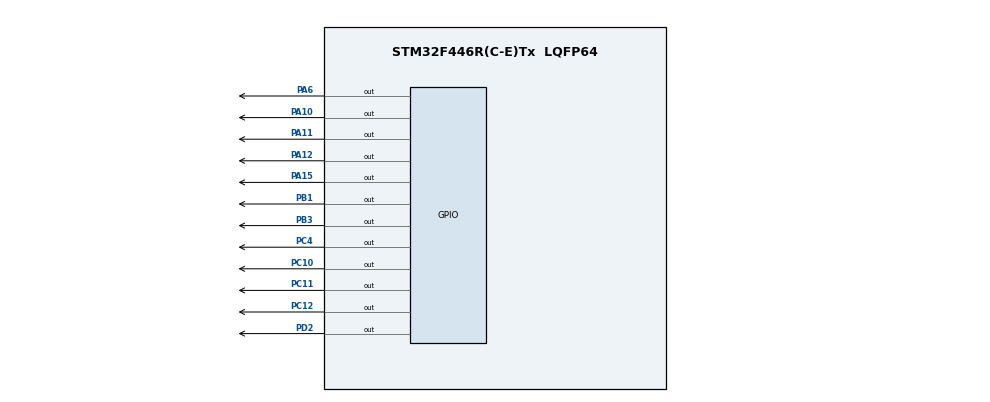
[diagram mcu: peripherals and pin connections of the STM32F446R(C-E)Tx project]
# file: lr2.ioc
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Mcu.Family=STM32F4
RCC.CortexFreq_Value=16000000
PC12.Signal=GPIO_Output
PC11.Signal=GPIO_Output
PC10.Signal=GPIO_Output
PC4.Signal=GPIO_Output
ProjectManager.StackSize=0x400
PA12.Signal=GPIO_Output
ProjectManager.TargetToolchain=STM32CubeIDE
RCC.USBFreq_Value=96000000
board=custom
RCC.VCOOutputFreq_Value=192000000
Mcu.Name=STM32F446R(C-E)Tx
PB3.Signal=GPIO_Output
Mcu.Package=LQFP64
PB1.Signal=GPIO_Output
PA6.Signal=GPIO_Output
PA11.Signal=GPIO_Output
PA10.Signal=GPIO_Output
PA15.Signal=GPIO_Output
ProjectManager.HeapSize=0x200
NVIC.PriorityGroup=NVIC_PRIORITYGROUP_4
PD2.Signal=GPIO_Output

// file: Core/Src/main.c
/* USER CODE BEGIN Header */
/**
  ******************************************************************************
  * @file           : main.c
  * @brief          : Main program body
  ******************************************************************************
  * @attention
  *
  * <h2><center>&copy; Copyright (c) 2022 STMicroelectronics.
  * All rights reserved.</center></h2>
  *
  * This software component is licensed by ST under BSD 3-Clause license,
  * the "License"; You may not use this file except in compliance with the
  * License. You may obtain a copy of the License at:
  *                        opensource.org/licenses/BSD-3-Clause
  *
  ******************************************************************************
  */
/* USER CODE END Header */
#include "main.h"
#include <stdlib.h>

void SystemClock_Config(void);
static void MX_GPIO_Init(void);

void set_number(int64_t);
void reset_number();
void set_screen(int64_t);
void set_minus(int64_t);
void set_long_number(int64_t);
void reset_all();

int main(void)
{

  /* MCU Configuration--------------------------------------------------------*/

  /* Reset of all peripherals, Initializes the Flash interface and the Systick. */
  HAL_Init();

  /* Configure the system clock */
  SystemClock_Config();

  /* Initialize all configured peripherals */
  MX_GPIO_Init();

  /* Infinite loop */
  /* USER CODE BEGIN WHILE */

  int64_t count = -304;
  int64_t time = 0;

  reset_all();
  set_long_number(count);

  while (1)
  {
	  if (time == 0) {
		  if (HAL_GPIO_ReadPin(GPIOC, GPIO_PIN_5) == GPIO_PIN_RESET) {
			  count++;
			  time++;
		  }
          if (HAL_GPIO_ReadPin(GPIOC, GPIO_PIN_6) == GPIO_PIN_RESET) {
        	  count--;
        	  time++;
          }
	  }
      if (count < 0) {
          if (count < -999) {
              count = -999;
              HAL_Delay(500);
              set_long_number(count);
          } else {
              set_long_number(count);
          }
      } else {
          if (count > 9999) {
              count = 9999;
              HAL_Delay(500);
              set_long_number(count);
          } else {
              set_long_number(count);
          }
      }

      if (time > 0) {
    	  time++;
    	  if (time > 75) time = 0;
      }

    /* USER CODE END WHILE */

  }
}

void set_number(int64_t num) {
    switch (num) {
        case 0:
            HAL_GPIO_WritePin(GPIOD, GPIO_PIN_2, GPIO_PIN_RESET);
            HAL_GPIO_WritePin(GPIOA, GPIO_PIN_6, GPIO_PIN_RESET);
            HAL_GPIO_WritePin(GPIOA, GPIO_PIN_12, GPIO_PIN_RESET);
            HAL_GPIO_WritePin(GPIOA, GPIO_PIN_11, GPIO_PIN_RESET);
            HAL_GPIO_WritePin(GPIOC, GPIO_PIN_10, GPIO_PIN_RESET);
            HAL_GPIO_WritePin(GPIOC, GPIO_PIN_11, GPIO_PIN_RESET);
            break;
        case 1:
            HAL_GPIO_WritePin(GPIOA, GPIO_PIN_12, GPIO_PIN_RESET);
	        HAL_GPIO_WritePin(GPIOA, GPIO_PIN_11, GPIO_PIN_RESET);
            break;
        case 2:
            HAL_GPIO_WritePin(GPIOC, GPIO_PIN_12, GPIO_PIN_RESET);
	        HAL_GPIO_WritePin(GPIOA, GPIO_PIN_6, GPIO_PIN_RESET);
	        HAL_GPIO_WritePin(GPIOA, GPIO_PIN_12, GPIO_PIN_RESET);
	        HAL_GPIO_WritePin(GPIOC, GPIO_PIN_10, GPIO_PIN_RESET);
	        HAL_GPIO_WritePin(GPIOC, GPIO_PIN_11, GPIO_PIN_RESET);
            break;
        case 3:
            HAL_GPIO_WritePin(GPIOC, GPIO_PIN_12, GPIO_PIN_RESET);
            HAL_GPIO_WritePin(GPIOA, GPIO_PIN_6, GPIO_PIN_RESET);
            HAL_GPIO_WritePin(GPIOA, GPIO_PIN_12, GPIO_PIN_RESET);
            HAL_GPIO_WritePin(GPIOC, GPIO_PIN_10, GPIO_PIN_RESET);
            HAL_GPIO_WritePin(GPIOA, GPIO_PIN_11, GPIO_PIN_RESET);
            break;
        case 4:
            HAL_GPIO_WritePin(GPIOD, GPIO_PIN_2, GPIO_PIN_RESET);
	        HAL_GPIO_WritePin(GPIOC, GPIO_PIN_12, GPIO_PIN_RESET);
	        HAL_GPIO_WritePin(GPIOA, GPIO_PIN_12, GPIO_PIN_RESET);
	        HAL_GPIO_WritePin(GPIOA, GPIO_PIN_11, GPIO_PIN_RESET);
            break;
        case 5:
            HAL_GPIO_WritePin(GPIOC, GPIO_PIN_12, GPIO_PIN_RESET);
            HAL_GPIO_WritePin(GPIOD, GPIO_PIN_2, GPIO_PIN_RESET);
            HAL_GPIO_WritePin(GPIOA, GPIO_PIN_6, GPIO_PIN_RESET);
            HAL_GPIO_WritePin(GPIOA, GPIO_PIN_11, GPIO_PIN_RESET);
            HAL_GPIO_WritePin(GPIOC, GPIO_PIN_10, GPIO_PIN_RESET);
            break;
        case 6:
            HAL_GPIO_WritePin(GPIOC, GPIO_PIN_12, GPIO_PIN_RESET);
            HAL_GPIO_WritePin(GPIOD, GPIO_PIN_2, GPIO_PIN_RESET);
            HAL_GPIO_WritePin(GPIOA, GPIO_PIN_6, GPIO_PIN_RESET);
            HAL_GPIO_WritePin(GPIOA, GPIO_PIN_11, GPIO_PIN_RESET);
            HAL_GPIO_WritePin(GPIOC, GPIO_PIN_10, GPIO_PIN_RESET);
            HAL_GPIO_WritePin(GPIOC, GPIO_PIN_11, GPIO_PIN_RESET);
            break;
        case 7:
            HAL_GPIO_WritePin(GPIOA, GPIO_PIN_6, GPIO_PIN_RESET);
            HAL_GPIO_WritePin(GPIOA, GPIO_PIN_12, GPIO_PIN_RESET);
            HAL_GPIO_WritePin(GPIOA, GPIO_PIN_11, GPIO_PIN_RESET);
            break;
        case 8:
            HAL_GPIO_WritePin(GPIOC, GPIO_PIN_12, GPIO_PIN_RESET);
            HAL_GPIO_WritePin(GPIOD, GPIO_PIN_2, GPIO_PIN_RESET);
            HAL_GPIO_WritePin(GPIOA, GPIO_PIN_6, GPIO_PIN_RESET);
            HAL_GPIO_WritePin(GPIOA, GPIO_PIN_12, GPIO_PIN_RESET);
            HAL_GPIO_WritePin(GPIOA, GPIO_PIN_11, GPIO_PIN_RESET);
            HAL_GPIO_WritePin(GPIOC, GPIO_PIN_10, GPIO_PIN_RESET);
            HAL_GPIO_WritePin(GPIOC, GPIO_PIN_11, GPIO_PIN_RESET);
            break;
        case 9:
            HAL_GPIO_WritePin(GPIOC, GPIO_PIN_12, GPIO_PIN_RESET);
            HAL_GPIO_WritePin(GPIOD, GPIO_PIN_2, GPIO_PIN_RESET);
            HAL_GPIO_WritePin(GPIOA, GPIO_PIN_6, GPIO_PIN_RESET);
            HAL_GPIO_WritePin(GPIOA, GPIO_PIN_12, GPIO_PIN_RESET);
            HAL_GPIO_WritePin(GPIOA, GPIO_PIN_11, GPIO_PIN_RESET);
            HAL_GPIO_WritePin(GPIOC, GPIO_PIN_10, GPIO_PIN_RESET);
            break;
    }
}

void reset_number() {
    HAL_GPIO_WritePin(GPIOC, GPIO_PIN_12, GPIO_PIN_SET);
    HAL_GPIO_WritePin(GPIOD, GPIO_PIN_2, GPIO_PIN_SET);
    HAL_GPIO_WritePin(GPIOA, GPIO_PIN_6, GPIO_PIN_SET);
    HAL_GPIO_WritePin(GPIOA, GPIO_PIN_12, GPIO_PIN_SET);
    HAL_GPIO_WritePin(GPIOA, GPIO_PIN_11, GPIO_PIN_SET);
    HAL_GPIO_WritePin(GPIOC, GPIO_PIN_10, GPIO_PIN_SET);
    HAL_GPIO_WritePin(GPIOC, GPIO_PIN_11, GPIO_PIN_SET);
    HAL_GPIO_WritePin(GPIOA, GPIO_PIN_15, GPIO_PIN_SET);
}

void set_screen(int64_t num) {
    switch (num) {
        case 1:
            HAL_GPIO_WritePin(GPIOB, GPIO_PIN_1, GPIO_PIN_SET);
            HAL_GPIO_WritePin(GPIOB, GPIO_PIN_3, GPIO_PIN_SET);
            HAL_GPIO_WritePin(GPIOA, GPIO_PIN_10, GPIO_PIN_SET);
            HAL_GPIO_WritePin(GPIOC, GPIO_PIN_4, GPIO_PIN_RESET);
            break;
        case 2:
            HAL_GPIO_WritePin(GPIOB, GPIO_PIN_1, GPIO_PIN_SET);
            HAL_GPIO_WritePin(GPIOB, GPIO_PIN_3, GPIO_PIN_SET);
            HAL_GPIO_WritePin(GPIOA, GPIO_PIN_10, GPIO_PIN_RESET);
            HAL_GPIO_WritePin(GPIOC, GPIO_PIN_4, GPIO_PIN_SET);
            break;
        case 3:
            HAL_GPIO_WritePin(GPIOB, GPIO_PIN_1, GPIO_PIN_SET);
            HAL_GPIO_WritePin(GPIOB, GPIO_PIN_3, GPIO_PIN_RESET);
            HAL_GPIO_WritePin(GPIOA, GPIO_PIN_10, GPIO_PIN_SET);
            HAL_GPIO_WritePin(GPIOC, GPIO_PIN_4, GPIO_PIN_SET);
            break;
        case 4:
            HAL_GPIO_WritePin(GPIOB, GPIO_PIN_1, GPIO_PIN_RESET);
            HAL_GPIO_WritePin(GPIOB, GPIO_PIN_3, GPIO_PIN_SET);
            HAL_GPIO_WritePin(GPIOA, GPIO_PIN_10, GPIO_PIN_SET);
            HAL_GPIO_WritePin(GPIOC, GPIO_PIN_4, GPIO_PIN_SET);
            break;
    }
}

void set_long_number(int64_t num) {

    int64_t digit_count = 0;
    int64_t buffer = (int64_t) abs(num);

    for (int i = 1; i <= 4; ++i) {
        if (buffer % 10) digit_count = i;
        buffer /= 10;
    }

    if (num == 0) {
    	digit_count = 1;
    }

    buffer = (int64_t) abs(num);

    for (int i = 1; i <= digit_count; ++i) {
        set_screen(i);
        reset_number();
        set_number(buffer % 10);
        buffer /= 10;
        HAL_Delay(1);
        if (num < 0) {
                set_minus(digit_count);
        }
        HAL_Delay(1);
    }

}

void reset_all() {
    for (int i = 1; i <= 4; ++i) {
        set_screen(i);
        reset_number();
    }
}

void set_minus(int64_t digit_count) {
    set_screen(digit_count + 1);
    reset_number();
    HAL_GPIO_WritePin(GPIOC, GPIO_PIN_12, GPIO_PIN_RESET);
}

void SystemClock_Config(void)
{
  RCC_OscInitTypeDef RCC_OscInitStruct = {0};
  RCC_ClkInitTypeDef RCC_ClkInitStruct = {0};

  /** Configure the main internal regulator output voltage
  */
  __HAL_RCC_PWR_CLK_ENABLE();
  __HAL_PWR_VOLTAGESCALING_CONFIG(PWR_REGULATOR_VOLTAGE_SCALE3);
  /** Initializes the RCC Oscillators according to the specified parameters
  * in the RCC_OscInitTypeDef structure.
  */
  RCC_OscInitStruct.OscillatorType = RCC_OSCILLATORTYPE_HSI;
  RCC_OscInitStruct.HSIState = RCC_HSI_ON;
  RCC_OscInitStruct.HSICalibrationValue = RCC_HSICALIBRATION_DEFAULT;
  RCC_OscInitStruct.PLL.PLLState = RCC_PLL_NONE;
  if (HAL_RCC_OscConfig(&RCC_OscInitStruct) != HAL_OK)
  {
    Error_Handler();
  }
  /** Initializes the CPU, AHB and APB buses clocks
  */
  RCC_ClkInitStruct.ClockType = RCC_CLOCKTYPE_HCLK|RCC_CLOCKTYPE_SYSCLK
                              |RCC_CLOCKTYPE_PCLK1|RCC_CLOCKTYPE_PCLK2;
  RCC_ClkInitStruct.SYSCLKSource = RCC_SYSCLKSOURCE_HSI;
  RCC_ClkInitStruct.AHBCLKDivider = RCC_SYSCLK_DIV1;
  RCC_ClkInitStruct.APB1CLKDivider = RCC_HCLK_DIV1;
  RCC_ClkInitStruct.APB2CLKDivider = RCC_HCLK_DIV1;

  if (HAL_RCC_ClockConfig(&RCC_ClkInitStruct, FLASH_LATENCY_0) != HAL_OK)
  {
    Error_Handler();
  }
}

static void MX_GPIO_Init(void)
{
  GPIO_InitTypeDef GPIO_InitStruct = {0};

  /* GPIO Ports Clock Enable */
  __HAL_RCC_GPIOA_CLK_ENABLE();
  __HAL_RCC_GPIOC_CLK_ENABLE();
  __HAL_RCC_GPIOB_CLK_ENABLE();
  __HAL_RCC_GPIOD_CLK_ENABLE();

  /*Configure GPIO pin Output Level */
  HAL_GPIO_WritePin(GPIOA, GPIO_PIN_6|GPIO_PIN_10|GPIO_PIN_11|GPIO_PIN_12
                          |GPIO_PIN_15, GPIO_PIN_RESET);

  /*Configure GPIO pin Output Level */
  HAL_GPIO_WritePin(GPIOC, GPIO_PIN_4|GPIO_PIN_10|GPIO_PIN_11|GPIO_PIN_12, GPIO_PIN_RESET);

  /*Configure GPIO pin Output Level */
  HAL_GPIO_WritePin(GPIOB, GPIO_PIN_1|GPIO_PIN_3, GPIO_PIN_RESET);

  /*Configure GPIO pin Output Level */
  HAL_GPIO_WritePin(GPIOD, GPIO_PIN_2, GPIO_PIN_RESET);

  /*Configure GPIO pins : PA6 PA10 PA11 PA12
                           PA15 */
  GPIO_InitStruct.Pin = GPIO_PIN_6|GPIO_PIN_10|GPIO_PIN_11|GPIO_PIN_12
                          |GPIO_PIN_15;
  GPIO_InitStruct.Mode = GPIO_MODE_OUTPUT_PP;
  GPIO_InitStruct.Pull = GPIO_NOPULL;
  GPIO_InitStruct.Speed = GPIO_SPEED_FREQ_LOW;
  HAL_GPIO_Init(GPIOA, &GPIO_InitStruct);

  /*Configure GPIO pins : PC4 PC10 PC11 PC12 */
  GPIO_InitStruct.Pin = GPIO_PIN_4|GPIO_PIN_10|GPIO_PIN_11|GPIO_PIN_12;
  GPIO_InitStruct.Mode = GPIO_MODE_OUTPUT_PP;
  GPIO_InitStruct.Pull = GPIO_NOPULL;
  GPIO_InitStruct.Speed = GPIO_SPEED_FREQ_LOW;
  HAL_GPIO_Init(GPIOC, &GPIO_InitStruct);

  /*Configure GPIO pins : PB1 PB3 */
  GPIO_InitStruct.Pin = GPIO_PIN_1|GPIO_PIN_3;
  GPIO_InitStruct.Mode = GPIO_MODE_OUTPUT_PP;
  GPIO_InitStruct.Pull = GPIO_NOPULL;
  GPIO_InitStruct.Speed = GPIO_SPEED_FREQ_LOW;
  HAL_GPIO_Init(GPIOB, &GPIO_InitStruct);

  /*Configure GPIO pin : PD2 */
  GPIO_InitStruct.Pin = GPIO_PIN_2;
  GPIO_InitStruct.Mode = GPIO_MODE_OUTPUT_PP;
  GPIO_InitStruct.Pull = GPIO_NOPULL;
  GPIO_InitStruct.Speed = GPIO_SPEED_FREQ_LOW;
  HAL_GPIO_Init(GPIOD, &GPIO_InitStruct);

}

void Error_Handler(void)
{
  __disable_irq();
  while (1)
  {
  }
}

/************************ (C) COPYRIGHT STMicroelectronics *****END OF FILE****/
